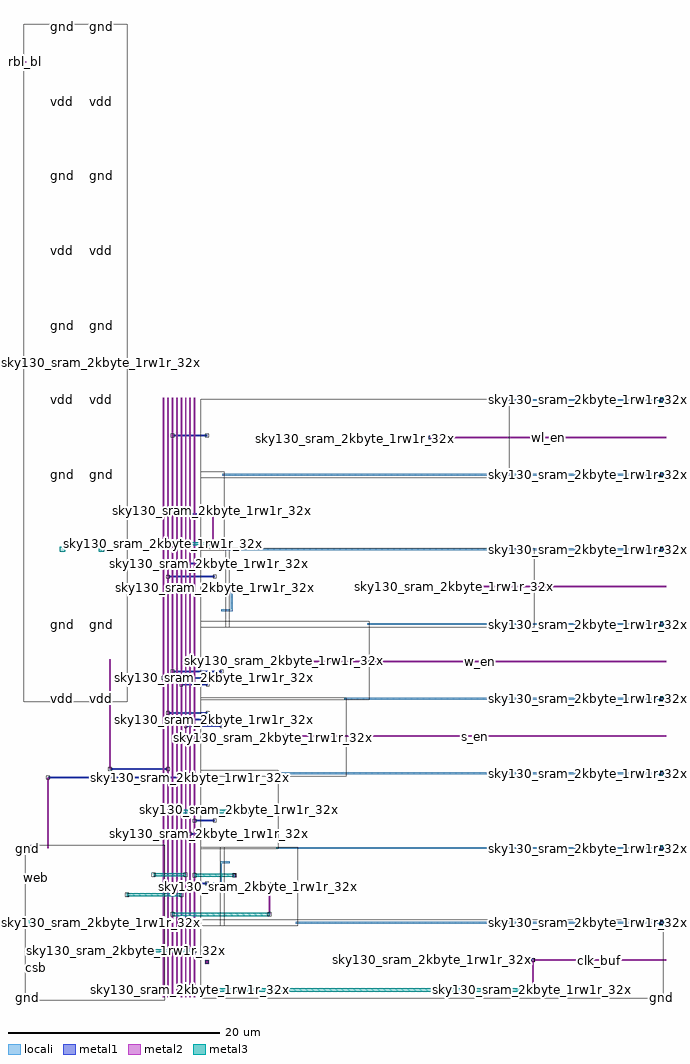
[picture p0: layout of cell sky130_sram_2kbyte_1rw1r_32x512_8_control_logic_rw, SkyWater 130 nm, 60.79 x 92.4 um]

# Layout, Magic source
magic
tech sky130A
magscale 1 2
<< locali >>
rect 9082 11295 11998 11329
rect 3678 9881 11998 9915
rect 3678 8467 11998 8501
rect 3842 7350 3876 7832
rect 3657 7316 3876 7350
rect 6424 7053 11998 7087
rect 5992 5639 11998 5673
rect 4704 4225 11998 4259
rect 4704 2811 11998 2845
rect 3639 2541 3824 2575
rect 3639 2176 3673 2541
rect 3506 2142 3673 2176
rect 5072 1397 11998 1431
<< metal1 >>
rect 11966 11286 12030 11338
rect 2736 10629 3391 10657
rect 7586 10579 7650 10631
rect 11966 9872 12030 9924
rect 2652 9139 3391 9167
rect 3474 9127 3538 9179
rect 11966 8458 12030 8510
rect 2820 8200 3439 8228
rect 2652 7952 3539 7980
rect 8054 7751 8118 7803
rect 11966 7044 12030 7096
rect 5036 6337 5100 6389
rect 2736 6160 3672 6188
rect 2568 6036 3539 6064
rect 2904 5912 3406 5940
rect 11966 5630 12030 5682
rect 2652 5372 3406 5400
rect 2736 5248 3539 5276
rect 2988 5124 3672 5152
rect 4820 4923 4884 4975
rect 1553 4308 2652 4336
rect 11966 4216 12030 4268
rect 383 4148 3072 4176
rect 4178 3493 4242 3545
rect 3156 3332 3539 3360
rect 3072 3084 3439 3112
rect 11966 2802 12030 2854
rect 3875 2284 3939 2336
rect 3072 2145 3391 2173
rect 4546 2111 4610 2163
rect 11966 1388 12030 1440
rect 3359 643 3423 695
rect 9530 681 9594 733
rect 11966 -26 12030 26
<< metal2 >>
rect -57 17699 -29 17727
rect 1539 4322 1567 6401
rect 369 2828 397 4162
rect 137 2238 203 2290
rect 137 538 203 590
rect 2554 0 2582 11352
rect 2638 0 2666 11352
rect 2722 0 2750 11352
rect 2806 0 2834 11352
rect 2890 0 2918 11352
rect 2974 0 3002 11352
rect 3058 0 3086 11352
rect 3142 0 3170 11352
rect 11970 11288 12026 11336
rect 7618 10591 12082 10619
rect 11970 9874 12026 9922
rect 3492 8587 3520 9153
rect 11970 8460 12026 8508
rect 8086 7763 12082 7791
rect 11970 7046 12026 7094
rect 5068 6349 12082 6377
rect 11970 5632 12026 5680
rect 4852 4935 12082 4963
rect 11970 4218 12026 4266
rect 4182 3495 4238 3543
rect 11970 2804 12026 2852
rect 3879 2286 3935 2334
rect 4564 1571 4592 2137
rect 11970 1390 12026 1438
rect 9562 707 12082 721
rect 9548 693 12082 707
rect 3377 655 3405 683
rect 9548 141 9576 693
rect 11970 -24 12026 24
<< metal3 >>
rect 607 18333 705 18431
rect 1343 18333 1441 18431
rect 607 16919 705 17017
rect 1343 16919 1441 17017
rect 607 15505 705 15603
rect 1343 15505 1441 15603
rect 607 14091 705 14189
rect 1343 14091 1441 14189
rect 607 12677 705 12775
rect 1343 12677 1441 12775
rect 607 11263 705 11361
rect 1343 11263 1441 11361
rect 11949 11263 12047 11361
rect 607 9849 705 9947
rect 1343 9849 1441 9947
rect 11949 9849 12047 9947
rect 2568 8557 3506 8617
rect 607 8435 705 8533
rect 1343 8435 1441 8533
rect 11949 8435 12047 8533
rect 607 7021 705 7119
rect 1343 7021 1441 7119
rect 11949 7021 12047 7119
rect 607 5607 705 5705
rect 1343 5607 1441 5705
rect 11949 5607 12047 5705
rect 11949 4193 12047 4291
rect 2820 3489 4210 3549
rect -49 2779 49 2877
rect 11949 2779 12047 2877
rect 2378 2295 2988 2355
rect 3156 2280 3907 2340
rect 1872 1913 2904 1973
rect 2736 1541 4578 1601
rect -49 1365 49 1463
rect 11949 1365 12047 1463
rect 1872 855 3156 915
rect 3072 111 9562 171
rect -49 -49 49 49
rect 11949 -49 12047 49
use sky130_sram_2kbyte_1rw1r_32x512_8_dff_buf_array  sky130_sram_2kbyte_1rw1r_32x512_8_dff_buf_array_0
transform 1 0 0 0 1 0
box -49 -49 2590 2877
use sky130_sram_2kbyte_1rw1r_32x512_8_pand3  sky130_sram_2kbyte_1rw1r_32x512_8_pand3_0
transform 1 0 3310 0 1 5656
box -36 -17 3150 1471
use sky130_sram_2kbyte_1rw1r_32x512_8_pand2_1  sky130_sram_2kbyte_1rw1r_32x512_8_pand2_1_1
transform 1 0 3678 0 -1 2828
box -36 -17 1430 1471
use sky130_sram_2kbyte_1rw1r_32x512_8_pand2_1  sky130_sram_2kbyte_1rw1r_32x512_8_pand2_1_0
transform 1 0 3310 0 1 2828
box -36 -17 1430 1471
use sky130_sram_2kbyte_1rw1r_32x512_8_delay_chain  sky130_sram_2kbyte_1rw1r_32x512_8_delay_chain_0
transform 1 0 0 0 -1 18382
box -75 -49 1876 12783
use sky130_sram_2kbyte_1rw1r_32x512_8_pand3_0  sky130_sram_2kbyte_1rw1r_32x512_8_pand3_0_0
transform 1 0 3310 0 -1 5656
box -36 -17 2718 1471
use sky130_sram_2kbyte_1rw1r_32x512_8_pdriver_2  sky130_sram_2kbyte_1rw1r_32x512_8_pdriver_2_0
transform 1 0 3310 0 1 0
box -36 -17 8724 1471
use sky130_sram_2kbyte_1rw1r_32x512_8_pnand2_1  sky130_sram_2kbyte_1rw1r_32x512_8_pnand2_1_0
transform 1 0 3310 0 -1 8484
box -36 -17 504 1471
use sky130_sram_2kbyte_1rw1r_32x512_8_pinv_1  sky130_sram_2kbyte_1rw1r_32x512_8_pinv_1_1
transform 1 0 3310 0 1 8484
box -36 -17 404 1471
use sky130_sram_2kbyte_1rw1r_32x512_8_pinv_1  sky130_sram_2kbyte_1rw1r_32x512_8_pinv_1_0
transform 1 0 3310 0 -1 2828
box -36 -17 404 1471
use sky130_sram_2kbyte_1rw1r_32x512_8_pdriver_3  sky130_sram_2kbyte_1rw1r_32x512_8_pdriver_3_1
transform 1 0 3310 0 -1 11312
box -36 -17 5808 1471
use sky130_sram_2kbyte_1rw1r_32x512_8_pdriver_3  sky130_sram_2kbyte_1rw1r_32x512_8_pdriver_3_0
transform 1 0 3778 0 -1 8484
box -36 -17 5808 1471
use sky130_sram_2kbyte_1rw1r_32x512_8_contact_19  sky130_sram_2kbyte_1rw1r_32x512_8_contact_19_0
transform 1 0 11966 0 1 1382
box 0 0 64 64
use sky130_sram_2kbyte_1rw1r_32x512_8_contact_14  sky130_sram_2kbyte_1rw1r_32x512_8_contact_14_0
transform 1 0 11969 0 1 1381
box 0 0 58 66
use sky130_sram_2kbyte_1rw1r_32x512_8_contact_32  sky130_sram_2kbyte_1rw1r_32x512_8_contact_32_0
transform 1 0 9529 0 1 104
box 0 0 66 74
use sky130_sram_2kbyte_1rw1r_32x512_8_contact_19  sky130_sram_2kbyte_1rw1r_32x512_8_contact_19_1
transform 1 0 8054 0 1 7745
box 0 0 64 64
use sky130_sram_2kbyte_1rw1r_32x512_8_contact_19  sky130_sram_2kbyte_1rw1r_32x512_8_contact_19_2
transform 1 0 9530 0 1 675
box 0 0 64 64
use sky130_sram_2kbyte_1rw1r_32x512_8_contact_14  sky130_sram_2kbyte_1rw1r_32x512_8_contact_14_1
transform 1 0 9533 0 1 674
box 0 0 58 66
use sky130_sram_2kbyte_1rw1r_32x512_8_contact_7  sky130_sram_2kbyte_1rw1r_32x512_8_contact_7_0
transform 1 0 11965 0 1 8447
box 0 0 66 74
use sky130_sram_2kbyte_1rw1r_32x512_8_contact_19  sky130_sram_2kbyte_1rw1r_32x512_8_contact_19_3
transform 1 0 11966 0 1 8452
box 0 0 64 64
use sky130_sram_2kbyte_1rw1r_32x512_8_contact_14  sky130_sram_2kbyte_1rw1r_32x512_8_contact_14_2
transform 1 0 11969 0 1 8451
box 0 0 58 66
use sky130_sram_2kbyte_1rw1r_32x512_8_contact_19  sky130_sram_2kbyte_1rw1r_32x512_8_contact_19_4
transform 1 0 9530 0 1 675
box 0 0 64 64
use sky130_sram_2kbyte_1rw1r_32x512_8_contact_14  sky130_sram_2kbyte_1rw1r_32x512_8_contact_14_3
transform 1 0 9533 0 1 674
box 0 0 58 66
use sky130_sram_2kbyte_1rw1r_32x512_8_contact_14  sky130_sram_2kbyte_1rw1r_32x512_8_contact_14_4
transform 1 0 8057 0 1 7744
box 0 0 58 66
use sky130_sram_2kbyte_1rw1r_32x512_8_contact_7  sky130_sram_2kbyte_1rw1r_32x512_8_contact_7_1
transform 1 0 11965 0 1 8447
box 0 0 66 74
use sky130_sram_2kbyte_1rw1r_32x512_8_contact_19  sky130_sram_2kbyte_1rw1r_32x512_8_contact_19_5
transform 1 0 11966 0 1 8452
box 0 0 64 64
use sky130_sram_2kbyte_1rw1r_32x512_8_contact_14  sky130_sram_2kbyte_1rw1r_32x512_8_contact_14_5
transform 1 0 11969 0 1 8451
box 0 0 58 66
use sky130_sram_2kbyte_1rw1r_32x512_8_contact_7  sky130_sram_2kbyte_1rw1r_32x512_8_contact_7_2
transform 1 0 11965 0 1 7033
box 0 0 66 74
use sky130_sram_2kbyte_1rw1r_32x512_8_contact_19  sky130_sram_2kbyte_1rw1r_32x512_8_contact_19_6
transform 1 0 11966 0 1 7038
box 0 0 64 64
use sky130_sram_2kbyte_1rw1r_32x512_8_contact_14  sky130_sram_2kbyte_1rw1r_32x512_8_contact_14_6
transform 1 0 11969 0 1 7037
box 0 0 58 66
use sky130_sram_2kbyte_1rw1r_32x512_8_contact_7  sky130_sram_2kbyte_1rw1r_32x512_8_contact_7_3
transform 1 0 11965 0 1 5619
box 0 0 66 74
use sky130_sram_2kbyte_1rw1r_32x512_8_contact_19  sky130_sram_2kbyte_1rw1r_32x512_8_contact_19_7
transform 1 0 11966 0 1 5624
box 0 0 64 64
use sky130_sram_2kbyte_1rw1r_32x512_8_contact_14  sky130_sram_2kbyte_1rw1r_32x512_8_contact_14_7
transform 1 0 11969 0 1 5623
box 0 0 58 66
use sky130_sram_2kbyte_1rw1r_32x512_8_contact_7  sky130_sram_2kbyte_1rw1r_32x512_8_contact_7_4
transform 1 0 11965 0 1 7033
box 0 0 66 74
use sky130_sram_2kbyte_1rw1r_32x512_8_contact_19  sky130_sram_2kbyte_1rw1r_32x512_8_contact_19_8
transform 1 0 11966 0 1 7038
box 0 0 64 64
use sky130_sram_2kbyte_1rw1r_32x512_8_contact_14  sky130_sram_2kbyte_1rw1r_32x512_8_contact_14_8
transform 1 0 11969 0 1 7037
box 0 0 58 66
use sky130_sram_2kbyte_1rw1r_32x512_8_contact_7  sky130_sram_2kbyte_1rw1r_32x512_8_contact_7_5
transform 1 0 11965 0 1 5619
box 0 0 66 74
use sky130_sram_2kbyte_1rw1r_32x512_8_contact_19  sky130_sram_2kbyte_1rw1r_32x512_8_contact_19_9
transform 1 0 11966 0 1 5624
box 0 0 64 64
use sky130_sram_2kbyte_1rw1r_32x512_8_contact_14  sky130_sram_2kbyte_1rw1r_32x512_8_contact_14_9
transform 1 0 11969 0 1 5623
box 0 0 58 66
use sky130_sram_2kbyte_1rw1r_32x512_8_contact_7  sky130_sram_2kbyte_1rw1r_32x512_8_contact_7_6
transform 1 0 11965 0 1 4205
box 0 0 66 74
use sky130_sram_2kbyte_1rw1r_32x512_8_contact_19  sky130_sram_2kbyte_1rw1r_32x512_8_contact_19_10
transform 1 0 11966 0 1 4210
box 0 0 64 64
use sky130_sram_2kbyte_1rw1r_32x512_8_contact_14  sky130_sram_2kbyte_1rw1r_32x512_8_contact_14_10
transform 1 0 11969 0 1 4209
box 0 0 58 66
use sky130_sram_2kbyte_1rw1r_32x512_8_contact_7  sky130_sram_2kbyte_1rw1r_32x512_8_contact_7_7
transform 1 0 11965 0 1 2791
box 0 0 66 74
use sky130_sram_2kbyte_1rw1r_32x512_8_contact_19  sky130_sram_2kbyte_1rw1r_32x512_8_contact_19_11
transform 1 0 11966 0 1 2796
box 0 0 64 64
use sky130_sram_2kbyte_1rw1r_32x512_8_contact_14  sky130_sram_2kbyte_1rw1r_32x512_8_contact_14_11
transform 1 0 11969 0 1 2795
box 0 0 58 66
use sky130_sram_2kbyte_1rw1r_32x512_8_contact_7  sky130_sram_2kbyte_1rw1r_32x512_8_contact_7_8
transform 1 0 11965 0 1 4205
box 0 0 66 74
use sky130_sram_2kbyte_1rw1r_32x512_8_contact_19  sky130_sram_2kbyte_1rw1r_32x512_8_contact_19_12
transform 1 0 11966 0 1 4210
box 0 0 64 64
use sky130_sram_2kbyte_1rw1r_32x512_8_contact_14  sky130_sram_2kbyte_1rw1r_32x512_8_contact_14_12
transform 1 0 11969 0 1 4209
box 0 0 58 66
use sky130_sram_2kbyte_1rw1r_32x512_8_contact_7  sky130_sram_2kbyte_1rw1r_32x512_8_contact_7_9
transform 1 0 11965 0 1 2791
box 0 0 66 74
use sky130_sram_2kbyte_1rw1r_32x512_8_contact_19  sky130_sram_2kbyte_1rw1r_32x512_8_contact_19_13
transform 1 0 11966 0 1 2796
box 0 0 64 64
use sky130_sram_2kbyte_1rw1r_32x512_8_contact_14  sky130_sram_2kbyte_1rw1r_32x512_8_contact_14_13
transform 1 0 11969 0 1 2795
box 0 0 58 66
use sky130_sram_2kbyte_1rw1r_32x512_8_contact_7  sky130_sram_2kbyte_1rw1r_32x512_8_contact_7_10
transform 1 0 11965 0 1 1377
box 0 0 66 74
use sky130_sram_2kbyte_1rw1r_32x512_8_contact_19  sky130_sram_2kbyte_1rw1r_32x512_8_contact_19_14
transform 1 0 11966 0 1 1382
box 0 0 64 64
use sky130_sram_2kbyte_1rw1r_32x512_8_contact_14  sky130_sram_2kbyte_1rw1r_32x512_8_contact_14_14
transform 1 0 11969 0 1 1381
box 0 0 58 66
use sky130_sram_2kbyte_1rw1r_32x512_8_contact_7  sky130_sram_2kbyte_1rw1r_32x512_8_contact_7_11
transform 1 0 11965 0 1 -37
box 0 0 66 74
use sky130_sram_2kbyte_1rw1r_32x512_8_contact_19  sky130_sram_2kbyte_1rw1r_32x512_8_contact_19_15
transform 1 0 11966 0 1 -32
box 0 0 64 64
use sky130_sram_2kbyte_1rw1r_32x512_8_contact_14  sky130_sram_2kbyte_1rw1r_32x512_8_contact_14_15
transform 1 0 11969 0 1 -33
box 0 0 58 66
use sky130_sram_2kbyte_1rw1r_32x512_8_contact_7  sky130_sram_2kbyte_1rw1r_32x512_8_contact_7_12
transform 1 0 11965 0 1 1377
box 0 0 66 74
use sky130_sram_2kbyte_1rw1r_32x512_8_contact_19  sky130_sram_2kbyte_1rw1r_32x512_8_contact_19_16
transform 1 0 3040 0 1 4130
box 0 0 64 64
use sky130_sram_2kbyte_1rw1r_32x512_8_contact_19  sky130_sram_2kbyte_1rw1r_32x512_8_contact_19_17
transform 1 0 351 0 1 4130
box 0 0 64 64
use sky130_sram_2kbyte_1rw1r_32x512_8_contact_7  sky130_sram_2kbyte_1rw1r_32x512_8_contact_7_13
transform 1 0 2345 0 1 2288
box 0 0 66 74
use sky130_sram_2kbyte_1rw1r_32x512_8_contact_32  sky130_sram_2kbyte_1rw1r_32x512_8_contact_32_1
transform 1 0 2955 0 1 2288
box 0 0 66 74
use sky130_sram_2kbyte_1rw1r_32x512_8_contact_7  sky130_sram_2kbyte_1rw1r_32x512_8_contact_7_14
transform 1 0 1839 0 1 1906
box 0 0 66 74
use sky130_sram_2kbyte_1rw1r_32x512_8_contact_32  sky130_sram_2kbyte_1rw1r_32x512_8_contact_32_2
transform 1 0 2871 0 1 1906
box 0 0 66 74
use sky130_sram_2kbyte_1rw1r_32x512_8_contact_7  sky130_sram_2kbyte_1rw1r_32x512_8_contact_7_15
transform 1 0 1839 0 1 848
box 0 0 66 74
use sky130_sram_2kbyte_1rw1r_32x512_8_contact_32  sky130_sram_2kbyte_1rw1r_32x512_8_contact_32_3
transform 1 0 3123 0 1 848
box 0 0 66 74
use sky130_sram_2kbyte_1rw1r_32x512_8_contact_19  sky130_sram_2kbyte_1rw1r_32x512_8_contact_19_18
transform 1 0 4178 0 1 3487
box 0 0 64 64
use sky130_sram_2kbyte_1rw1r_32x512_8_contact_14  sky130_sram_2kbyte_1rw1r_32x512_8_contact_14_16
transform 1 0 4181 0 1 3486
box 0 0 58 66
use sky130_sram_2kbyte_1rw1r_32x512_8_contact_7  sky130_sram_2kbyte_1rw1r_32x512_8_contact_7_16
transform 1 0 4177 0 1 3482
box 0 0 66 74
use sky130_sram_2kbyte_1rw1r_32x512_8_contact_19  sky130_sram_2kbyte_1rw1r_32x512_8_contact_19_19
transform 1 0 4178 0 1 3487
box 0 0 64 64
use sky130_sram_2kbyte_1rw1r_32x512_8_contact_14  sky130_sram_2kbyte_1rw1r_32x512_8_contact_14_17
transform 1 0 4181 0 1 3486
box 0 0 58 66
use sky130_sram_2kbyte_1rw1r_32x512_8_contact_32  sky130_sram_2kbyte_1rw1r_32x512_8_contact_32_4
transform 1 0 2787 0 1 3482
box 0 0 66 74
use sky130_sram_2kbyte_1rw1r_32x512_8_contact_14  sky130_sram_2kbyte_1rw1r_32x512_8_contact_14_18
transform 1 0 3510 0 1 3313
box 0 0 58 66
use sky130_sram_2kbyte_1rw1r_32x512_8_contact_19  sky130_sram_2kbyte_1rw1r_32x512_8_contact_19_20
transform 1 0 3124 0 1 3314
box 0 0 64 64
use sky130_sram_2kbyte_1rw1r_32x512_8_contact_14  sky130_sram_2kbyte_1rw1r_32x512_8_contact_14_19
transform 1 0 3410 0 1 3065
box 0 0 58 66
use sky130_sram_2kbyte_1rw1r_32x512_8_contact_19  sky130_sram_2kbyte_1rw1r_32x512_8_contact_19_21
transform 1 0 3040 0 1 3066
box 0 0 64 64
use sky130_sram_2kbyte_1rw1r_32x512_8_contact_19  sky130_sram_2kbyte_1rw1r_32x512_8_contact_19_22
transform 1 0 4546 0 1 2105
box 0 0 64 64
use sky130_sram_2kbyte_1rw1r_32x512_8_contact_14  sky130_sram_2kbyte_1rw1r_32x512_8_contact_14_20
transform 1 0 4549 0 1 2104
box 0 0 58 66
use sky130_sram_2kbyte_1rw1r_32x512_8_contact_32  sky130_sram_2kbyte_1rw1r_32x512_8_contact_32_5
transform 1 0 2703 0 1 1534
box 0 0 66 74
use sky130_sram_2kbyte_1rw1r_32x512_8_contact_32  sky130_sram_2kbyte_1rw1r_32x512_8_contact_32_6
transform 1 0 4545 0 1 1534
box 0 0 66 74
use sky130_sram_2kbyte_1rw1r_32x512_8_contact_7  sky130_sram_2kbyte_1rw1r_32x512_8_contact_7_17
transform 1 0 3874 0 1 2273
box 0 0 66 74
use sky130_sram_2kbyte_1rw1r_32x512_8_contact_19  sky130_sram_2kbyte_1rw1r_32x512_8_contact_19_23
transform 1 0 3875 0 1 2278
box 0 0 64 64
use sky130_sram_2kbyte_1rw1r_32x512_8_contact_14  sky130_sram_2kbyte_1rw1r_32x512_8_contact_14_21
transform 1 0 3878 0 1 2277
box 0 0 58 66
use sky130_sram_2kbyte_1rw1r_32x512_8_contact_7  sky130_sram_2kbyte_1rw1r_32x512_8_contact_7_18
transform 1 0 3874 0 1 2273
box 0 0 66 74
use sky130_sram_2kbyte_1rw1r_32x512_8_contact_19  sky130_sram_2kbyte_1rw1r_32x512_8_contact_19_24
transform 1 0 3875 0 1 2278
box 0 0 64 64
use sky130_sram_2kbyte_1rw1r_32x512_8_contact_14  sky130_sram_2kbyte_1rw1r_32x512_8_contact_14_22
transform 1 0 3878 0 1 2277
box 0 0 58 66
use sky130_sram_2kbyte_1rw1r_32x512_8_contact_32  sky130_sram_2kbyte_1rw1r_32x512_8_contact_32_7
transform 1 0 3123 0 1 2273
box 0 0 66 74
use sky130_sram_2kbyte_1rw1r_32x512_8_contact_14  sky130_sram_2kbyte_1rw1r_32x512_8_contact_14_23
transform 1 0 3362 0 1 2126
box 0 0 58 66
use sky130_sram_2kbyte_1rw1r_32x512_8_contact_19  sky130_sram_2kbyte_1rw1r_32x512_8_contact_19_25
transform 1 0 3040 0 1 2127
box 0 0 64 64
use sky130_sram_2kbyte_1rw1r_32x512_8_contact_32  sky130_sram_2kbyte_1rw1r_32x512_8_contact_32_8
transform 1 0 3039 0 1 104
box 0 0 66 74
use sky130_sram_2kbyte_1rw1r_32x512_8_contact_19  sky130_sram_2kbyte_1rw1r_32x512_8_contact_19_26
transform 1 0 3359 0 1 637
box 0 0 64 64
use sky130_sram_2kbyte_1rw1r_32x512_8_contact_14  sky130_sram_2kbyte_1rw1r_32x512_8_contact_14_24
transform 1 0 3362 0 1 636
box 0 0 58 66
use sky130_sram_2kbyte_1rw1r_32x512_8_contact_14  sky130_sram_2kbyte_1rw1r_32x512_8_contact_14_25
transform 1 0 3510 0 1 7933
box 0 0 58 66
use sky130_sram_2kbyte_1rw1r_32x512_8_contact_19  sky130_sram_2kbyte_1rw1r_32x512_8_contact_19_27
transform 1 0 2620 0 1 7934
box 0 0 64 64
use sky130_sram_2kbyte_1rw1r_32x512_8_contact_14  sky130_sram_2kbyte_1rw1r_32x512_8_contact_14_26
transform 1 0 3410 0 1 8181
box 0 0 58 66
use sky130_sram_2kbyte_1rw1r_32x512_8_contact_19  sky130_sram_2kbyte_1rw1r_32x512_8_contact_19_28
transform 1 0 2788 0 1 8182
box 0 0 64 64
use sky130_sram_2kbyte_1rw1r_32x512_8_contact_19  sky130_sram_2kbyte_1rw1r_32x512_8_contact_19_29
transform 1 0 2620 0 1 4290
box 0 0 64 64
use sky130_sram_2kbyte_1rw1r_32x512_8_contact_19  sky130_sram_2kbyte_1rw1r_32x512_8_contact_19_30
transform 1 0 1521 0 1 4290
box 0 0 64 64
use sky130_sram_2kbyte_1rw1r_32x512_8_contact_19  sky130_sram_2kbyte_1rw1r_32x512_8_contact_19_31
transform 1 0 4820 0 1 4917
box 0 0 64 64
use sky130_sram_2kbyte_1rw1r_32x512_8_contact_14  sky130_sram_2kbyte_1rw1r_32x512_8_contact_14_27
transform 1 0 4823 0 1 4916
box 0 0 58 66
use sky130_sram_2kbyte_1rw1r_32x512_8_contact_14  sky130_sram_2kbyte_1rw1r_32x512_8_contact_14_28
transform 1 0 3643 0 1 5105
box 0 0 58 66
use sky130_sram_2kbyte_1rw1r_32x512_8_contact_19  sky130_sram_2kbyte_1rw1r_32x512_8_contact_19_32
transform 1 0 2956 0 1 5106
box 0 0 64 64
use sky130_sram_2kbyte_1rw1r_32x512_8_contact_14  sky130_sram_2kbyte_1rw1r_32x512_8_contact_14_29
transform 1 0 3510 0 1 5229
box 0 0 58 66
use sky130_sram_2kbyte_1rw1r_32x512_8_contact_19  sky130_sram_2kbyte_1rw1r_32x512_8_contact_19_33
transform 1 0 2704 0 1 5230
box 0 0 64 64
use sky130_sram_2kbyte_1rw1r_32x512_8_contact_14  sky130_sram_2kbyte_1rw1r_32x512_8_contact_14_30
transform 1 0 3377 0 1 5353
box 0 0 58 66
use sky130_sram_2kbyte_1rw1r_32x512_8_contact_19  sky130_sram_2kbyte_1rw1r_32x512_8_contact_19_34
transform 1 0 2620 0 1 5354
box 0 0 64 64
use sky130_sram_2kbyte_1rw1r_32x512_8_contact_19  sky130_sram_2kbyte_1rw1r_32x512_8_contact_19_35
transform 1 0 5036 0 1 6331
box 0 0 64 64
use sky130_sram_2kbyte_1rw1r_32x512_8_contact_14  sky130_sram_2kbyte_1rw1r_32x512_8_contact_14_31
transform 1 0 5039 0 1 6330
box 0 0 58 66
use sky130_sram_2kbyte_1rw1r_32x512_8_contact_14  sky130_sram_2kbyte_1rw1r_32x512_8_contact_14_32
transform 1 0 3643 0 1 6141
box 0 0 58 66
use sky130_sram_2kbyte_1rw1r_32x512_8_contact_19  sky130_sram_2kbyte_1rw1r_32x512_8_contact_19_36
transform 1 0 2704 0 1 6142
box 0 0 64 64
use sky130_sram_2kbyte_1rw1r_32x512_8_contact_14  sky130_sram_2kbyte_1rw1r_32x512_8_contact_14_33
transform 1 0 3510 0 1 6017
box 0 0 58 66
use sky130_sram_2kbyte_1rw1r_32x512_8_contact_19  sky130_sram_2kbyte_1rw1r_32x512_8_contact_19_37
transform 1 0 2536 0 1 6018
box 0 0 64 64
use sky130_sram_2kbyte_1rw1r_32x512_8_contact_14  sky130_sram_2kbyte_1rw1r_32x512_8_contact_14_34
transform 1 0 3377 0 1 5893
box 0 0 58 66
use sky130_sram_2kbyte_1rw1r_32x512_8_contact_19  sky130_sram_2kbyte_1rw1r_32x512_8_contact_19_38
transform 1 0 2872 0 1 5894
box 0 0 64 64
use sky130_sram_2kbyte_1rw1r_32x512_8_contact_14  sky130_sram_2kbyte_1rw1r_32x512_8_contact_14_35
transform 1 0 3362 0 1 9120
box 0 0 58 66
use sky130_sram_2kbyte_1rw1r_32x512_8_contact_19  sky130_sram_2kbyte_1rw1r_32x512_8_contact_19_39
transform 1 0 2620 0 1 9121
box 0 0 64 64
use sky130_sram_2kbyte_1rw1r_32x512_8_contact_19  sky130_sram_2kbyte_1rw1r_32x512_8_contact_19_40
transform 1 0 3474 0 1 9121
box 0 0 64 64
use sky130_sram_2kbyte_1rw1r_32x512_8_contact_14  sky130_sram_2kbyte_1rw1r_32x512_8_contact_14_36
transform 1 0 3477 0 1 9120
box 0 0 58 66
use sky130_sram_2kbyte_1rw1r_32x512_8_contact_32  sky130_sram_2kbyte_1rw1r_32x512_8_contact_32_9
transform 1 0 2535 0 1 8550
box 0 0 66 74
use sky130_sram_2kbyte_1rw1r_32x512_8_contact_32  sky130_sram_2kbyte_1rw1r_32x512_8_contact_32_10
transform 1 0 3473 0 1 8550
box 0 0 66 74
use sky130_sram_2kbyte_1rw1r_32x512_8_contact_19  sky130_sram_2kbyte_1rw1r_32x512_8_contact_19_41
transform 1 0 2704 0 1 10611
box 0 0 64 64
use sky130_sram_2kbyte_1rw1r_32x512_8_contact_14  sky130_sram_2kbyte_1rw1r_32x512_8_contact_14_37
transform 1 0 3362 0 1 10610
box 0 0 58 66
use sky130_sram_2kbyte_1rw1r_32x512_8_contact_7  sky130_sram_2kbyte_1rw1r_32x512_8_contact_7_19
transform 1 0 11965 0 1 11275
box 0 0 66 74
use sky130_sram_2kbyte_1rw1r_32x512_8_contact_19  sky130_sram_2kbyte_1rw1r_32x512_8_contact_19_42
transform 1 0 11966 0 1 11280
box 0 0 64 64
use sky130_sram_2kbyte_1rw1r_32x512_8_contact_14  sky130_sram_2kbyte_1rw1r_32x512_8_contact_14_38
transform 1 0 11969 0 1 11279
box 0 0 58 66
use sky130_sram_2kbyte_1rw1r_32x512_8_contact_7  sky130_sram_2kbyte_1rw1r_32x512_8_contact_7_20
transform 1 0 11965 0 1 9861
box 0 0 66 74
use sky130_sram_2kbyte_1rw1r_32x512_8_contact_19  sky130_sram_2kbyte_1rw1r_32x512_8_contact_19_43
transform 1 0 11966 0 1 9866
box 0 0 64 64
use sky130_sram_2kbyte_1rw1r_32x512_8_contact_14  sky130_sram_2kbyte_1rw1r_32x512_8_contact_14_39
transform 1 0 11969 0 1 9865
box 0 0 58 66
use sky130_sram_2kbyte_1rw1r_32x512_8_contact_7  sky130_sram_2kbyte_1rw1r_32x512_8_contact_7_21
transform 1 0 11965 0 1 9861
box 0 0 66 74
use sky130_sram_2kbyte_1rw1r_32x512_8_contact_19  sky130_sram_2kbyte_1rw1r_32x512_8_contact_19_44
transform 1 0 11966 0 1 9866
box 0 0 64 64
use sky130_sram_2kbyte_1rw1r_32x512_8_contact_14  sky130_sram_2kbyte_1rw1r_32x512_8_contact_14_40
transform 1 0 11969 0 1 9865
box 0 0 58 66
use sky130_sram_2kbyte_1rw1r_32x512_8_contact_19  sky130_sram_2kbyte_1rw1r_32x512_8_contact_19_45
transform 1 0 7586 0 1 10573
box 0 0 64 64
use sky130_sram_2kbyte_1rw1r_32x512_8_contact_14  sky130_sram_2kbyte_1rw1r_32x512_8_contact_14_41
transform 1 0 7589 0 1 10572
box 0 0 58 66
<< labels >>
rlabel metal3 s 1343 11263 1441 11361 4 vdd
rlabel metal3 s 11949 4193 12047 4291 4 vdd
rlabel metal3 s 607 8435 705 8533 4 vdd
rlabel metal3 s 607 11263 705 11361 4 vdd
rlabel metal3 s 1343 5607 1441 5705 4 vdd
rlabel metal3 s 607 5607 705 5705 4 vdd
rlabel metal3 s 1343 16919 1441 17017 4 vdd
rlabel metal3 s 1343 14091 1441 14189 4 vdd
rlabel metal3 s -49 1365 49 1463 4 vdd
rlabel metal3 s 607 14091 705 14189 4 vdd
rlabel metal3 s 11949 1365 12047 1463 4 vdd
rlabel metal3 s 11949 9849 12047 9947 4 vdd
rlabel metal3 s 11949 7021 12047 7119 4 vdd
rlabel metal3 s 607 16919 705 17017 4 vdd
rlabel metal3 s 1343 8435 1441 8533 4 vdd
rlabel metal3 s 11949 2779 12047 2877 4 gnd
rlabel metal3 s 11949 5607 12047 5705 4 gnd
rlabel metal3 s 1343 7021 1441 7119 4 gnd
rlabel metal3 s 607 15505 705 15603 4 gnd
rlabel metal3 s 1343 9849 1441 9947 4 gnd
rlabel metal3 s -49 2779 49 2877 4 gnd
rlabel metal3 s 1343 12677 1441 12775 4 gnd
rlabel metal3 s 1343 18333 1441 18431 4 gnd
rlabel metal3 s 11949 8435 12047 8533 4 gnd
rlabel metal3 s 11949 11263 12047 11361 4 gnd
rlabel metal3 s 607 9849 705 9947 4 gnd
rlabel metal3 s 607 18333 705 18431 4 gnd
rlabel metal3 s 607 7021 705 7119 4 gnd
rlabel metal3 s -49 -49 49 49 4 gnd
rlabel metal3 s 1343 15505 1441 15603 4 gnd
rlabel metal3 s 11949 -49 12047 49 4 gnd
rlabel metal3 s 607 12677 705 12775 4 gnd
rlabel metal2 s 137 538 203 590 4 csb
rlabel metal2 s 137 2238 203 2290 4 web
rlabel metal2 s 7618 10591 12082 10619 4 wl_en
rlabel metal2 s 5068 6349 12082 6377 4 w_en
rlabel metal2 s 4852 4935 12082 4963 4 s_en
rlabel metal2 s -57 17699 -29 17727 4 rbl_bl
rlabel metal2 s 8086 7763 12082 7791 4 p_en_bar
rlabel metal2 s 3377 655 3405 683 4 clk
rlabel metal2 s 9562 693 12082 721 4 clk_buf
<< properties >>
string FIXED_BBOX 0 0 12082 18542
<< end >>
